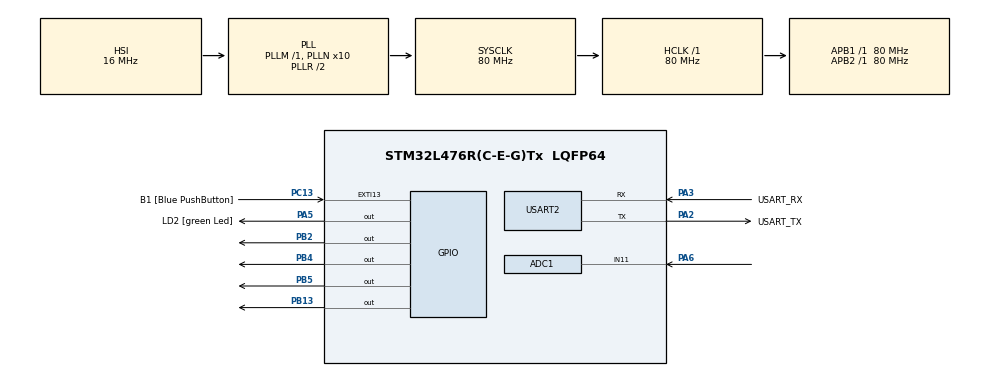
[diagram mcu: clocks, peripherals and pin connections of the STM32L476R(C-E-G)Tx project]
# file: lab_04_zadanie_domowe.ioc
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ADC1.Channel-1\#ChannelRegularConversion=ADC_CHANNEL_11
ADC1.NbrOfConversionFlag=1
ADC1.OffsetNumber-1\#ChannelRegularConversion=ADC_OFFSET_NONE
ADC1.Rank-1\#ChannelRegularConversion=1
ADC1.SamplingTime-1\#ChannelRegularConversion=ADC_SAMPLETIME_47CYCLES_5
ADC1.master=1
Mcu.Family=STM32L4
Mcu.Name=STM32L476R(C-E-G)Tx
Mcu.Package=LQFP64
NVIC.ADC1_2_IRQn=true\:0\:0\:false\:false\:true\:true\:true\:true
NVIC.EXTI15_10_IRQn=true\:0\:0\:false\:false\:true\:true\:true\:true
NVIC.PriorityGroup=NVIC_PRIORITYGROUP_4
PA13\ (JTMS-SWDIO).GPIO_Label=TMS
PA13\ (JTMS-SWDIO).Mode=Serial_Wire
PA13\ (JTMS-SWDIO).Signal=SYS_JTMS-SWDIO
PA14\ (JTCK-SWCLK).GPIO_Label=TCK
PA14\ (JTCK-SWCLK).Mode=Serial_Wire
PA14\ (JTCK-SWCLK).Signal=SYS_JTCK-SWCLK
PA2.GPIO_Label=USART_TX
PA2.GPIO_Mode=GPIO_MODE_AF_PP
PA2.GPIO_PuPd=GPIO_NOPULL
PA2.GPIO_Speed=GPIO_SPEED_FREQ_VERY_HIGH
PA2.Mode=Asynchronous
PA2.Signal=USART2_TX
PA3.GPIO_Label=USART_RX
PA3.GPIO_Mode=GPIO_MODE_AF_PP
PA3.GPIO_PuPd=GPIO_NOPULL
PA3.GPIO_Speed=GPIO_SPEED_FREQ_VERY_HIGH
PA3.Mode=Asynchronous
PA3.Signal=USART2_RX
PA5.GPIO_Label=LD2 [green Led]
PA5.GPIO_ModeDefaultOutputPP=GPIO_MODE_OUTPUT_PP
PA5.GPIO_PuPd=GPIO_NOPULL
PA5.GPIO_Speed=GPIO_SPEED_FREQ_LOW
PA5.Signal=GPIO_Output
PA6.Signal=ADCx_IN11
PB13.Signal=GPIO_Output
PB2.Signal=GPIO_Output
PB3\ (JTDO-TRACESWO).GPIO_Label=SWO
PB3\ (JTDO-TRACESWO).Signal=SYS_JTDO-SWO
PB4\ (NJTRST).Signal=GPIO_Output
PB5.Signal=GPIO_Output
PC13.GPIO_Label=B1 [Blue PushButton]
PC13.GPIO_ModeDefaultEXTI=GPIO_MODE_IT_FALLING
PC13.GPIO_PuPd=GPIO_NOPULL
PC13.Signal=GPXTI13
PC14-OSC32_IN\ (PC14).Mode=LSE-External-Oscillator
PC14-OSC32_IN\ (PC14).Signal=RCC_OSC32_IN
PC15-OSC32_OUT\ (PC15).Mode=LSE-External-Oscillator
PC15-OSC32_OUT\ (PC15).Signal=RCC_OSC32_OUT
PH0-OSC_IN\ (PH0).Signal=RCC_OSC_IN
PH1-OSC_OUT\ (PH1).Signal=RCC_OSC_OUT
ProjectManager.HeapSize=0x200
ProjectManager.StackSize=0x400
ProjectManager.TargetToolchain=CMake
RCC.ADCFreq_Value=64000000
RCC.AHBFreq_Value=80000000
RCC.APB1Freq_Value=80000000
RCC.APB1TimFreq_Value=80000000
RCC.APB2Freq_Value=80000000
RCC.APB2TimFreq_Value=80000000
RCC.CortexFreq_Value=80000000
RCC.HCLKFreq_Value=80000000
RCC.HSE_VALUE=8000000
RCC.HSI_VALUE=16000000
RCC.MSI_VALUE=4000000
RCC.PLLN=10
RCC.PLLSourceVirtual=RCC_PLLSOURCE_HSI
RCC.PREFETCH_ENABLE=1
RCC.SYSCLKFreq_VALUE=80000000
RCC.SYSCLKSource=RCC_SYSCLKSOURCE_PLLCLK
RCC.USBFreq_Value=64000000
RCC.VCOOutputFreq_Value=160000000
SH.ADCx_IN11.0=ADC1_IN11,IN11-Single-Ended
USART2.VirtualMode-Asynchronous=VM_ASYNC
board=NUCLEO-L476RG

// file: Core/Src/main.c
/* USER CODE BEGIN Header */
/**
 ******************************************************************************
 * @file           : main.c
 * @brief          : Main program body
 ******************************************************************************
 * @attention
 *
 * Copyright (c) 2025 STMicroelectronics.
 * All rights reserved.
 *
 * This software is licensed under terms that can be found in the LICENSE file
 * in the root directory of this software component.
 * If no LICENSE file comes with this software, it is provided AS-IS.
 *
 ******************************************************************************
 */
/* USER CODE END Header */
#include "main.h"
#include "adc.h"
#include "usart.h"
#include "gpio.h"

/* USER CODE BEGIN PV */
uint8_t dac_value = 15;               // Startowa wartość dla DAC (od 15 do 0)
uint16_t adc_value = 0;               // Pomiar z ADC
volatile uint8_t adc_flag = 0;        // Flaga zakończenia konwersji ADC
const uint32_t INDEX_NUMBER = 275417; // Nr indeksu
/* USER CODE END PV */

void SystemClock_Config(void);

/* USER CODE BEGIN 0 */

int _write(int file, char *ptr, int len)
{
  HAL_UART_Transmit(&huart2, (uint8_t *)ptr, len, HAL_MAX_DELAY);
  return len;
}

// Callback po zakończeniu konwersji ADC
void HAL_ADC_ConvCpltCallback(ADC_HandleTypeDef *hadc)
{
  if (hadc->Instance == ADC1)
  {
    adc_value = HAL_ADC_GetValue(hadc);
    adc_flag = 1;
  }
}

/* USER CODE END 0 */

int main(void)
{

  /* MCU Configuration--------------------------------------------------------*/

  /* Reset of all peripherals, Initializes the Flash interface and the Systick. */
  HAL_Init();

  /* Configure the system clock */
  SystemClock_Config();

  /* Initialize all configured peripherals */
  MX_GPIO_Init();
  MX_ADC1_Init();
  MX_USART2_UART_Init();
  /* USER CODE BEGIN 2 */

  HAL_ADC_Start_IT(&hadc1);

  /* USER CODE END 2 */

  /* Infinite loop */
  /* USER CODE BEGIN WHILE */
  while (1)
  {
    if (adc_flag == 1)
    {
      // Obliczenie napięć
      float dac_voltage = (float)dac_value * (3.3f / 15.0f);   // Skalowanie 0-15 do 0-3.3V
      float adc_voltage = (float)adc_value * (3.3f / 4095.0f); // Skalowanie 0-4095 do 0-3.3V

      // Wypisanie sformatowanych danych
      printf("%lu;%d;%.1f;%d;%.1f\r\n",
             INDEX_NUMBER, dac_value, dac_voltage, adc_value, adc_voltage);

      // Zmniejszenie wartości DAC i powrót do 15 gdy osiągnie 0
      if (dac_value == 0)
        dac_value = 15;
      else
        dac_value--;

      // Ustawienie pinów GPIO dla 4-bitowej wartości DAC
      // Ustawienie odpowiednich pinów PB2, PB4, PB5, PB13
      HAL_GPIO_WritePin(GPIOB, GPIO_PIN_2, (dac_value & 0x01) ? GPIO_PIN_SET : GPIO_PIN_RESET);
      HAL_GPIO_WritePin(GPIOB, GPIO_PIN_4, (dac_value & 0x02) ? GPIO_PIN_SET : GPIO_PIN_RESET);
      HAL_GPIO_WritePin(GPIOB, GPIO_PIN_5, (dac_value & 0x04) ? GPIO_PIN_SET : GPIO_PIN_RESET);
      HAL_GPIO_WritePin(GPIOB, GPIO_PIN_13, (dac_value & 0x08) ? GPIO_PIN_SET : GPIO_PIN_RESET);

      // Reset flagi i uruchomienie kolejnej konwersji ADC
      adc_flag = 0;
      HAL_ADC_Start_IT(&hadc1);
    }

    // Odczekanie 1 sekundy między pomiarami
    HAL_Delay(1000);

    /* USER CODE END WHILE */

  }
}

void SystemClock_Config(void)
{
  RCC_OscInitTypeDef RCC_OscInitStruct = {0};
  RCC_ClkInitTypeDef RCC_ClkInitStruct = {0};

  /** Configure the main internal regulator output voltage
   */
  if (HAL_PWREx_ControlVoltageScaling(PWR_REGULATOR_VOLTAGE_SCALE1) != HAL_OK)
  {
    Error_Handler();
  }

  /** Initializes the RCC Oscillators according to the specified parameters
   * in the RCC_OscInitTypeDef structure.
   */
  RCC_OscInitStruct.OscillatorType = RCC_OSCILLATORTYPE_HSI;
  RCC_OscInitStruct.HSIState = RCC_HSI_ON;
  RCC_OscInitStruct.HSICalibrationValue = RCC_HSICALIBRATION_DEFAULT;
  RCC_OscInitStruct.PLL.PLLState = RCC_PLL_ON;
  RCC_OscInitStruct.PLL.PLLSource = RCC_PLLSOURCE_HSI;
  RCC_OscInitStruct.PLL.PLLM = 1;
  RCC_OscInitStruct.PLL.PLLN = 10;
  RCC_OscInitStruct.PLL.PLLP = RCC_PLLP_DIV7;
  RCC_OscInitStruct.PLL.PLLQ = RCC_PLLQ_DIV2;
  RCC_OscInitStruct.PLL.PLLR = RCC_PLLR_DIV2;
  if (HAL_RCC_OscConfig(&RCC_OscInitStruct) != HAL_OK)
  {
    Error_Handler();
  }

  /** Initializes the CPU, AHB and APB buses clocks
   */
  RCC_ClkInitStruct.ClockType = RCC_CLOCKTYPE_HCLK | RCC_CLOCKTYPE_SYSCLK | RCC_CLOCKTYPE_PCLK1 | RCC_CLOCKTYPE_PCLK2;
  RCC_ClkInitStruct.SYSCLKSource = RCC_SYSCLKSOURCE_PLLCLK;
  RCC_ClkInitStruct.AHBCLKDivider = RCC_SYSCLK_DIV1;
  RCC_ClkInitStruct.APB1CLKDivider = RCC_HCLK_DIV1;
  RCC_ClkInitStruct.APB2CLKDivider = RCC_HCLK_DIV1;

  if (HAL_RCC_ClockConfig(&RCC_ClkInitStruct, FLASH_LATENCY_4) != HAL_OK)
  {
    Error_Handler();
  }
}

void Error_Handler(void)
{
  __disable_irq();
  while (1)
  {
  }
}
